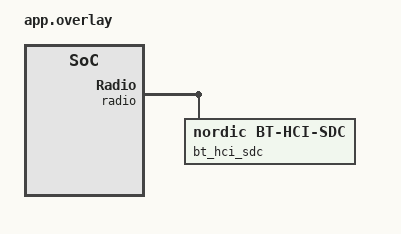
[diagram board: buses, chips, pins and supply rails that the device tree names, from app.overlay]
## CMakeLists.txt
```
cmake_minimum_required(VERSION 3.20.0)
find_package(Zephyr REQUIRED HINTS $ENV{ZEPHYR_BASE})
project(lism_coex_probe)
target_sources(app PRIVATE src/main.c src/radio_slot.c)
```

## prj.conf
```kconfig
CONFIG_BT=y
CONFIG_BT_PERIPHERAL=y
CONFIG_BT_CENTRAL=y
CONFIG_BT_MAX_CONN=8
CONFIG_BT_SMP=y
CONFIG_BT_SETTINGS=y
CONFIG_SETTINGS=y
CONFIG_FLASH=y
CONFIG_FLASH_MAP=y
CONFIG_NVS=y
CONFIG_BT_LL_SOFTDEVICE=y
CONFIG_BT_LL_SW_SPLIT=n
CONFIG_BT_CTLR_SDC_PERIPHERAL_COUNT=1
CONFIG_ESB=y
CONFIG_ESB_DYNAMIC_INTERRUPTS=y
CONFIG_MPSL_TIMESLOT_SESSION_COUNT=1
CONFIG_MAIN_STACK_SIZE=2048
CONFIG_NRF_SECURITY=n
CONFIG_ESB_RADIO_IRQ_PRIORITY=0
```

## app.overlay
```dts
&radio {
 bt_hci_sdc: bt_hci_sdc { compatible = "nordic,bt-hci-sdc"; status = "okay"; };
};
&bt_hci_controller { status = "disabled"; };
/ { chosen { zephyr,bt-hci = &bt_hci_sdc; }; };
```

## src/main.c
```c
#include <zephyr/bluetooth/bluetooth.h>
#include <esb.h>
#include <mpsl_timeslot.h>
extern void lism_probe_slots_start(void);
int main(void) {
    int rc = bt_enable(NULL);
    if (rc) return rc;
    /* This probe advertises BLE while requesting ESB windows. It does NOT
     * implement a split keyboard, commissioning or a USB HID receiver. */
    rc = bt_le_adv_start(BT_LE_ADV_CONN_FAST_1, NULL, 0, NULL, 0);
    if (!rc) lism_probe_slots_start();
    return rc;
}
```

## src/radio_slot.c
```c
/* SPDX-License-Identifier: MIT
 * Bench probe only. Not a LisM transport or a keyboard firmware.
 * No kernel queue, logging or sleep is called from a high-priority timeslot.
 */
#include <zephyr/kernel.h>
#include <zephyr/sys/atomic.h>
#include <hal/nrf_timer.h>
#include <esb.h>
#include <mpsl_timeslot.h>

/* Exposed by the pinned badjeff SDK fork; do not silently use upstream SDK. */
extern void *__ptr__radio_dynamic_irq_handler;
static atomic_t last_error, successes, failures, slot_active;
static atomic_t request_pending;
static mpsl_timeslot_signal_return_param_t response;
static bool initialized;
static const uint8_t base0[4] = {0x93, 0x71, 0x45, 0xb6};
static const uint8_t base1[4] = {0xa8, 0x26, 0x5b, 0xe1};
static const uint8_t prefix[1] = {0xd3};
static mpsl_timeslot_request_t request = {
    .request_type = MPSL_TIMESLOT_REQ_TYPE_EARLIEST,
    .params.earliest = {
        .hfclk = MPSL_TIMESLOT_HFCLK_CFG_XTAL_GUARANTEED,
        .priority = MPSL_TIMESLOT_PRIORITY_NORMAL,
        .length_us = 1500,
        .timeout_us = 100000,
    },
};
static void esb_event(const struct esb_evt *event) {
    if (event->evt_id == ESB_EVENT_TX_SUCCESS) atomic_inc(&successes);
    if (event->evt_id == ESB_EVENT_TX_FAILED) atomic_inc(&failures);
}
static void stop_slot(void) {
    if (initialized) {
        esb_disable();
        initialized = false;
    }
    nrf_timer_int_disable(NRF_TIMER0, NRF_TIMER_INT_COMPARE0_MASK);
    atomic_clear(&slot_active);
}
static mpsl_timeslot_signal_return_param_t *signal_handler(
    mpsl_timeslot_session_id_t session, uint32_t signal) {
    ARG_UNUSED(session);
    response.callback_action = MPSL_TIMESLOT_SIGNAL_ACTION_NONE;
    switch (signal) {
    case MPSL_TIMESLOT_SIGNAL_START: {
        atomic_set(&slot_active, 1);
        nrf_timer_cc_set(NRF_TIMER0, NRF_TIMER_CC_CHANNEL0, 1200);
        nrf_timer_event_clear(NRF_TIMER0, NRF_TIMER_EVENT_COMPARE0);
        nrf_timer_int_enable(NRF_TIMER0, NRF_TIMER_INT_COMPARE0_MASK);
        struct esb_config config = ESB_DEFAULT_CONFIG;
        config.event_handler = esb_event;
        config.retransmit_count = 0;
        config.use_fast_ramp_up = true;
        int rc = esb_init(&config);
        initialized = !rc;
        if (!rc) rc = esb_set_base_address_0(base0);
        if (!rc) rc = esb_set_base_address_1(base1);
        if (!rc) rc = esb_set_prefixes(prefix, 1);
        if (!rc) rc = esb_set_rf_channel(37);
        struct esb_payload payload = {
            .length = 8, .pipe = 0, .noack = false,
            .data = {'L', 'i', 's', 'M', 'P', 'R', 'O', 'B'},
        };
        if (!rc) rc = esb_write_payload(&payload);
        if (rc) {
            atomic_set(&last_error, rc);
            stop_slot();
            response.callback_action = MPSL_TIMESLOT_SIGNAL_ACTION_END;
        }
        return &response;
    }
    case MPSL_TIMESLOT_SIGNAL_RADIO:
        if (initialized)
            ((void (*)(const void *))__ptr__radio_dynamic_irq_handler)(NULL);
        return &response;
    case MPSL_TIMESLOT_SIGNAL_TIMER0:
        if (nrf_timer_event_check(NRF_TIMER0, NRF_TIMER_EVENT_COMPARE0)) {
            nrf_timer_event_clear(NRF_TIMER0, NRF_TIMER_EVENT_COMPARE0);
            stop_slot();
            response.callback_action = MPSL_TIMESLOT_SIGNAL_ACTION_END;
        }
        return &response;
    case MPSL_TIMESLOT_SIGNAL_SESSION_IDLE:
    case MPSL_TIMESLOT_SIGNAL_BLOCKED:
    case MPSL_TIMESLOT_SIGNAL_CANCELLED:
        atomic_set(&request_pending, 1);
        return NULL;
    case MPSL_TIMESLOT_SIGNAL_INVALID_RETURN:
    case MPSL_TIMESLOT_SIGNAL_OVERSTAYED:
        atomic_set(&last_error, -EIO);
        return NULL;
    default:
        return NULL;
    }
}
/* Match Nordic's requirement: serialize MPSL public APIs on a cooperative
 * thread. This probe intentionally requests one short window every 20 ms;
 * it does not assert that this schedule is suitable for a trackball. */
static void slot_thread_fn(void *a, void *b, void *c) {
    ARG_UNUSED(a); ARG_UNUSED(b); ARG_UNUSED(c);
    mpsl_timeslot_session_id_t session;
    int rc = mpsl_timeslot_session_open(signal_handler, &session);
    if (rc) { atomic_set(&last_error, rc); return; }
    atomic_set(&request_pending, 1);
    while (!atomic_get(&last_error)) {
        if (atomic_cas(&request_pending, 1, 0)) {
            rc = mpsl_timeslot_request(session, &request);
            if (rc) { atomic_set(&last_error, rc); break; }
        }
        k_sleep(K_MSEC(20));
    }
    mpsl_timeslot_session_close(session);
}
K_THREAD_DEFINE(probe_slot_thread, 1536, slot_thread_fn, NULL, NULL, NULL,
                K_PRIO_COOP(8), 0, SYS_FOREVER_MS);
void lism_probe_slots_start(void) { k_thread_start(probe_slot_thread); }
```
